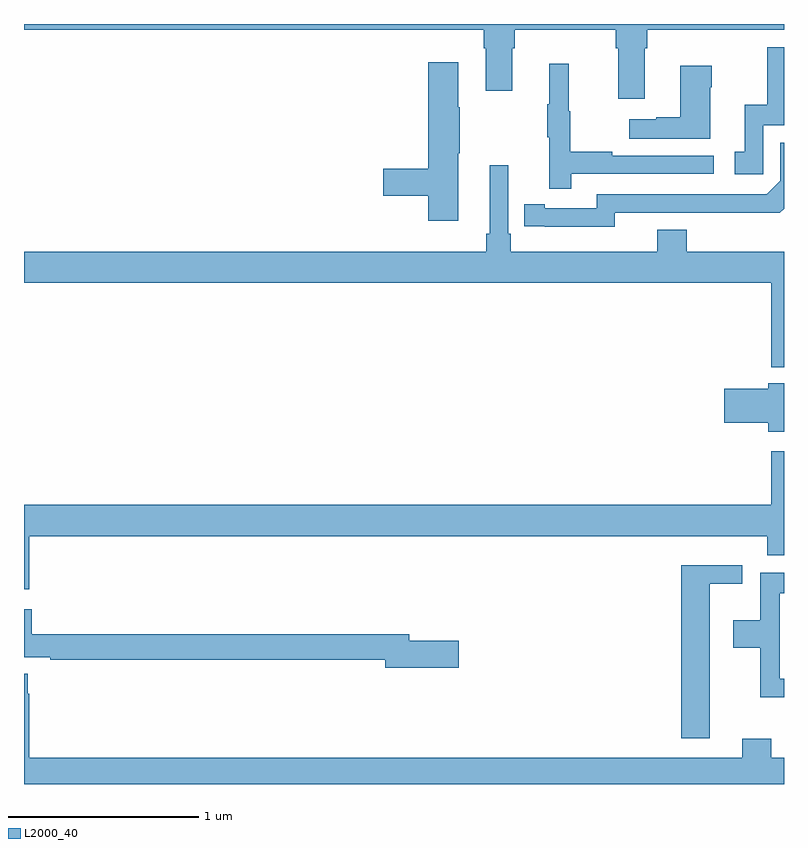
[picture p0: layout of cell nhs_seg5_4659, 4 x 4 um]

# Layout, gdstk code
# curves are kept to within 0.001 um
import gdstk
lib = gdstk.Library(unit=1e-6, precision=1e-09)
def P(c, l, *ps):  # polygons
    for p in ps: c.add(gdstk.Polygon(p, *l))
L2000_40 = (2000, 40)

nhs_seg5_4659 = lib.new_cell('nhs_seg5_4659')
P(nhs_seg5_4659, L2000_40, [(388.267,848.672),(388.28,848.672),(388.28,848.768),(389,848.768),(389,848.799),(385,848.799),(385,848.768),(387.419,848.768),(387.419,848.672),(387.431,848.672),(387.431,848.448),(387.571,848.448),(387.571,848.672),(387.584,848.672),(387.584,848.768),(388.115,848.768),(388.115,848.672),(388.127,848.672),(388.127,848.406),(388.267,848.406)],
  [(388.89,848.265),(389,848.265),(389,848.676),(388.911,848.676),(388.911,848.374),(388.793,848.374),(388.793,848.127),(388.74,848.127),(388.74,848.007),(388.89,848.007)],
  [(387.286,848.119),(387.294,848.119),(387.294,848.36),(387.286,848.36),(387.286,848.599),(387.128,848.599),(387.128,848.036),(386.892,848.036),(386.892,847.894),(387.128,847.894),(387.128,847.764),(387.286,847.764)],
  [(387.881,848.01),(388.63,848.01),(388.63,848.106),(388.097,848.106),(388.097,848.126),(387.874,848.126),(387.874,848.34),(387.866,848.34),(387.866,848.59),(387.764,848.59),(387.764,848.377),(387.753,848.377),(387.753,848.203),(387.764,848.203),(387.764,847.932),(387.881,847.932)],
  [(388.612,848.465),(388.62,848.465),(388.62,848.578),(388.454,848.578),(388.454,848.309),(388.328,848.309),(388.328,848.299),(388.185,848.299),(388.185,848.195),(388.612,848.195)],
  [(388.11,847.806),(388.978,847.805),(389,847.827),(389,848.175),(388.98,848.175),(388.98,847.974),(388.908,847.902),(388.014,847.902),(388.014,847.83),(387.742,847.83),(387.742,847.85),(387.634,847.85),(387.634,847.734),(388.11,847.733)],
  [(389,847.6),(388.487,847.6),(388.487,847.717),(388.334,847.717),(388.334,847.6),(387.563,847.6),(387.563,847.696),(387.549,847.696),(387.549,848.056),(387.452,848.056),(387.452,847.696),(387.433,847.696),(387.433,847.6),(385,847.6),(385,847.436),(388.932,847.436),(388.932,846.992),(389,846.992)],
  [(389,846.907),(388.916,846.907),(388.916,846.878),(388.686,846.878),(388.686,846.7),(388.916,846.7),(388.916,846.653),(389,846.653)],
  [(385.027,846.104),(388.913,846.104),(388.913,846.002),(389,846.002),(389,846.55),(388.932,846.55),(388.932,846.268),(385,846.268),(385,845.823),(385.027,845.823)],
  [(388.609,845.852),(388.78,845.852),(388.78,845.95),(388.46,845.95),(388.46,845.04),(388.609,845.04)],
  [(389,845.352),(388.977,845.352),(388.977,845.802),(389,845.802),(389,845.91),(388.876,845.91),(388.876,845.662),(388.734,845.662),(388.734,845.515),(388.876,845.515),(388.876,845.255),(389,845.255)],
  [(387.289,845.552),(387.028,845.552),(387.028,845.588),(385.042,845.588),(385.042,845.719),(385,845.719),(385,845.465),(385.138,845.465),(385.138,845.452),(386.9,845.452),(386.9,845.41),(387.289,845.41)],
  [(389,844.936),(388.934,844.936),(388.934,845.038),(388.781,845.038),(388.781,844.936),(385.027,844.936),(385.027,845.273),(385.02,845.273),(385.02,845.38),(385,845.38),(385,844.799),(389,844.799)])

lib.write_gds('nhs_seg5_4659.gds')
